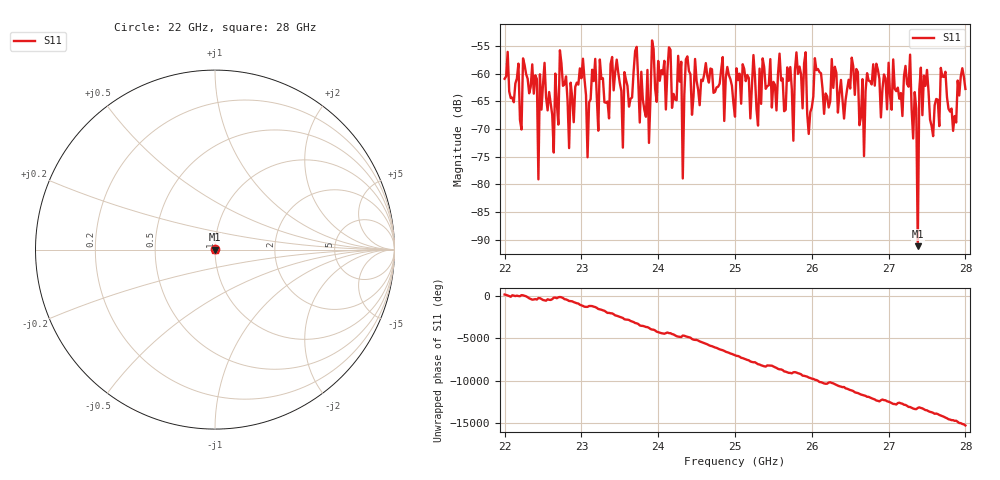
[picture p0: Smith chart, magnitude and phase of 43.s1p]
#  HZ  S  RI  R  50.00
! Rohde & Schwarz ZVA40 4Ports - Version 3.90 - 1145.1110k42 SN: 100403
! Date: 2023-10-04 06:47:33
! Measurement: S12
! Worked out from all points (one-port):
!   301 points, 22 GHz to 28 GHz, reference 50 ohm
!   lowest |S11| = -91.2 dB at 27.38 GHz (marker M1), VSWR 1.00, Z = 50 + j0.00225 ohm
!   |S11| at or under -10 dB: start of sweep to end of sweep
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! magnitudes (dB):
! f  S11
! 22 GHz  -60.9
! 22.36 GHz  -58.3
! 22.42 GHz  -61.0
! 22.44 GHz  -79.1
! 22.46 GHz  -60.1
! 22.64 GHz  -74.3
! 22.76 GHz  -62.2
! 23.02 GHz  -57.3
! 23.08 GHz  -75.1
! 23.18 GHz  -57.3
! 23.5 GHz  -61.7
! 23.72 GHz  -55.2
! 23.88 GHz  -72.5
! 23.92 GHz  -54.0
! 24.26 GHz  -56.8
! 24.3 GHz  -57.9
! 24.32 GHz  -78.9
! 24.38 GHz  -56.9
! 25 GHz  -67.8
! 25.58 GHz  -56.4
! 25.76 GHz  -72.1
! 25.8 GHz  -56.2
! 25.96 GHz  -70.9
! 26.5 GHz  -62.7
! 27.26 GHz  -62.4
! 27.38 GHz  -91.2
! 27.42 GHz  -58.9
! 28 GHz  -62.8
